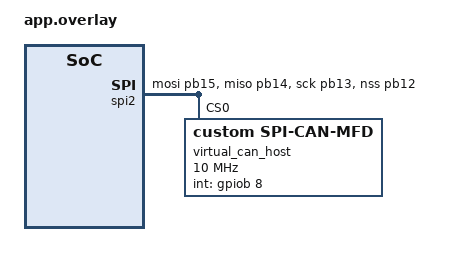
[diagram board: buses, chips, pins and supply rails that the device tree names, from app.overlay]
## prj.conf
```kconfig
CONFIG_GPIO=y
CONFIG_SPI=y
CONFIG_SPI_ASYNC=y
CONFIG_SPI_STM32_INTERRUPT=y
CONFIG_DMA=y
CONFIG_CAN=y
CONFIG_VCAN=y
CONFIG_LOG=y
CONFIG_LOG_MODE_DEFERRED=y
CONFIG_LOG_PROCESS_THREAD=y
CONFIG_LOG_PROCESS_THREAD_SLEEP_MS=50
CONFIG_LOG_BUFFER_SIZE=4096
CONFIG_LOG_RATELIMIT=y
CONFIG_LOG_RATELIMIT_INTERVAL_MS=1000
CONFIG_ASSERT=y
CONFIG_MAIN_STACK_SIZE=4096
CONFIG_SYS_CLOCK_TICKS_PER_SEC=1000
CONFIG_SPI_LOG_LEVEL_WRN=y
CONFIG_CAN_LOG_LEVEL_WRN=y
CONFIG_VCAN_WORKQ_STACK_SIZE=2048
```

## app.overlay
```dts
&spi2 {
	status = "okay";
	dmas = <&dma1 3 0 (STM32_DMA_PERIPH_RX | STM32_DMA_PRIORITY_HIGH) 0>,
	       <&dma1 4 0 (STM32_DMA_PERIPH_TX | STM32_DMA_PRIORITY_HIGH) 0>;
	dma-names = "rx", "tx";
	pinctrl-0 = <&spi2_mosi_pb15
		     &spi2_miso_pb14
		     &spi2_sck_pb13
		     &spi2_nss_pb12>;
	pinctrl-names = "default";

	virtual_can_host: spi_can@0 {
		compatible = "custom,spi-can-mfd";
		reg = <0>;
		spi-max-frequency = <10000000>;
		can-core-clock = <42000000>;
		int-gpios = <&gpiob 8 (GPIO_ACTIVE_HIGH | GPIO_PULL_DOWN)>;
		status = "okay";

		can_v0: can_0 {
			compatible = "custom,spi-can-node";
			status = "okay";
			can-channel = <0>;
			bitrate = <1000000>;
			sample-point = <875>;
		};

		can_v1: can_1 {
			compatible = "custom,spi-can-node";
			status = "okay";
			can-channel = <1>;
			bitrate = <1000000>;
			sample-point = <875>;
		};
	};
};
```

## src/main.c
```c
#include <errno.h>
#include <string.h>

#include <zephyr/device.h>
#include <zephyr/devicetree.h>
#include <zephyr/drivers/can.h>
#include <zephyr/kernel.h>
#include <zephyr/logging/log.h>
#include <zephyr/sys/byteorder.h>
#include <zephyr/sys/util.h>

LOG_MODULE_REGISTER(vcan_host_demo, LOG_LEVEL_INF);

#define HOST_DEMO_LOG_INTERVAL_MS 5000U

#define HOST_CAN0_NODE DT_NODELABEL(can1)
#define HOST_CAN1_NODE DT_NODELABEL(can2)
#define REMOTE_CAN0_NODE DT_NODELABEL(can_v0)
#define REMOTE_CAN1_NODE DT_NODELABEL(can_v1)

#define VCAN_CHANNEL_COUNT 2U
#define TEST_MAGIC 0xA5U
#define CAN_BITRATE_PER_CHANNEL 1000000U
#define CAN_STD_8B_FRAME_BITS 111U
#define CAN_SHARED_DIRECTIONS_PER_CHANNEL 2U
#define SPI_SYNC_MAX_FRAMES_PER_TRANSFER 4U
#define SPI_SYNC_POLL_US 500U
#define TARGET_FPS_OVERRIDE 3000U
#define RAW_TARGET_FPS_PER_DIRECTION                                                        \
	((((CAN_BITRATE_PER_CHANNEL / CAN_STD_8B_FRAME_BITS) /                              \
	   CAN_SHARED_DIRECTIONS_PER_CHANNEL) <                                            \
	  (((1000000U / SPI_SYNC_POLL_US) * SPI_SYNC_MAX_FRAMES_PER_TRANSFER) /            \
	   VCAN_CHANNEL_COUNT)) ?                                                          \
		 ((CAN_BITRATE_PER_CHANNEL / CAN_STD_8B_FRAME_BITS) /                        \
		  CAN_SHARED_DIRECTIONS_PER_CHANNEL) :                                       \
		 (((1000000U / SPI_SYNC_POLL_US) * SPI_SYNC_MAX_FRAMES_PER_TRANSFER) /       \
		  VCAN_CHANNEL_COUNT))
#define TARGET_FPS_PER_DIRECTION TARGET_FPS_OVERRIDE
#define TEST_PERIOD_MS 2U
#define TEST_GAP_MS 1U
#define TEST_TIMEOUT_MS 100U
#define SUMMARY_INTERVAL_MS 5000U
#define STRESS_FRAMES_PER_PERIOD_NUMERATOR (TARGET_FPS_PER_DIRECTION * TEST_PERIOD_MS)
#define STRESS_BATCH_BASE (STRESS_FRAMES_PER_PERIOD_NUMERATOR / 1000U)
#define STRESS_BATCH_PEAK DIV_ROUND_UP(STRESS_FRAMES_PER_PERIOD_NUMERATOR, 1000U)
#define PENDING_DEPTH 512U
#define TIMEOUT_LOG_BURST 8U
#define HOUSEKEEPING_PERIOD_MS 10U
#define WORKER_COUNT (VCAN_CHANNEL_COUNT * 2U)
#define WORKER_STACK_SIZE 1536U
#define WORKER_PRIORITY 4

#define CAN_IDEAL_MAX_FPS_PER_DIRECTION                                                     \
	((CAN_BITRATE_PER_CHANNEL / CAN_STD_8B_FRAME_BITS) /                                \
	 CAN_SHARED_DIRECTIONS_PER_CHANNEL)
#define CODE_MAX_FPS_PER_DIRECTION                                                           \
	(((1000000U / SPI_SYNC_POLL_US) * SPI_SYNC_MAX_FRAMES_PER_TRANSFER) /              \
	 VCAN_CHANNEL_COUNT)

BUILD_ASSERT(TEST_GAP_MS < TEST_PERIOD_MS, "TEST_GAP_MS must be smaller than TEST_PERIOD_MS");
BUILD_ASSERT(TARGET_FPS_PER_DIRECTION > 0U, "target fps must be non-zero");
BUILD_ASSERT(TARGET_FPS_PER_DIRECTION <= RAW_TARGET_FPS_PER_DIRECTION,
	     "target fps exceeds current stress capacity");

struct timeout_report {
	const char *name;
	uint16_t seq[TIMEOUT_LOG_BURST];
	size_t seq_count;
	size_t total_count;
};

struct pending_entry {
	bool active;
	uint16_t seq;
	int64_t sent_at_ms;
};

struct pending_case {
	const char *name;
	struct pending_entry entries[PENDING_DEPTH];
};

struct channel_stats {
	const struct device *host_can;
	const struct device *remote_can;
	const char *name;
	uint32_t host_to_remote_id;
	uint32_t remote_to_host_id;
	uint8_t host_to_remote_tag;
	uint8_t remote_to_host_tag;
	struct pending_case host_to_remote;
	struct pending_case remote_to_host;
	uint32_t host_tx_count;
	uint32_t remote_tx_count;
	uint32_t host_to_remote_pass;
	uint32_t remote_to_host_pass;
	uint32_t host_to_remote_timeout;
	uint32_t remote_to_host_timeout;
	uint32_t host_send_err;
	uint32_t remote_send_err;
	uint32_t host_backpressure;
	uint32_t remote_backpressure;
	uint32_t unexpected_host_rx;
	uint32_t unexpected_remote_rx;
};

struct endpoint_ctx {
	uint8_t channel;
	const char *name;
};

struct sender_worker {
	uint8_t channel;
	bool remote_to_host;
	const char *name;
	uint16_t next_seq;
	int64_t start_delay_ms;
};

struct demo_stats {
	struct k_spinlock lock;
	struct channel_stats channels[VCAN_CHANNEL_COUNT];
};

struct summary_snapshot {
	uint32_t host_tx_count;
	uint32_t remote_tx_count;
	uint32_t host_to_remote_pass;
	uint32_t remote_to_host_pass;
	uint32_t host_to_remote_timeout;
	uint32_t remote_to_host_timeout;
	uint32_t host_send_err;
	uint32_t remote_send_err;
	uint32_t host_backpressure;
	uint32_t remote_backpressure;
	uint32_t unexpected_host_rx;
	uint32_t unexpected_remote_rx;
};

static struct demo_stats stats = {
	.channels =
		{
			[0] =
				{
					.host_can = DEVICE_DT_GET(HOST_CAN0_NODE),
					.remote_can = DEVICE_DT_GET(REMOTE_CAN0_NODE),
					.name = "channel0(can1<->vcan0)",
					.host_to_remote_id = 0x120,
					.remote_to_host_id = 0x220,
					.host_to_remote_tag = 0x10,
					.remote_to_host_tag = 0x20,
					.host_to_remote = { .name = "can1->vcan0" },
					.remote_to_host = { .name = "vcan0->can1" },
				},
			[1] =
				{
					.host_can = DEVICE_DT_GET(HOST_CAN1_NODE),
					.remote_can = DEVICE_DT_GET(REMOTE_CAN1_NODE),
					.name = "channel1(can2<->vcan1)",
					.host_to_remote_id = 0x121,
					.remote_to_host_id = 0x221,
					.host_to_remote_tag = 0x11,
					.remote_to_host_tag = 0x21,
					.host_to_remote = { .name = "can2->vcan1" },
					.remote_to_host = { .name = "vcan1->can2" },
				},
		},
};

static const struct endpoint_ctx host_ctx[VCAN_CHANNEL_COUNT] = {
	[0] = {
		.channel = 0U,
		.name = "host_can1",
	},
	[1] = {
		.channel = 1U,
		.name = "host_can2",
	},
};

static const struct endpoint_ctx remote_ctx[VCAN_CHANNEL_COUNT] = {
	[0] = {
		.channel = 0U,
		.name = "vcan0",
	},
	[1] = {
		.channel = 1U,
		.name = "vcan1",
	},
};

static struct sender_worker workers[WORKER_COUNT] = {
	[0] = {
		.channel = 0U,
		.remote_to_host = false,
		.name = "can1->vcan0",
		.next_seq = 1U,
		.start_delay_ms = 0,
	},
	[1] = {
		.channel = 1U,
		.remote_to_host = false,
		.name = "can2->vcan1",
		.next_seq = 1U,
		.start_delay_ms = 0,
	},
	[2] = {
		.channel = 0U,
		.remote_to_host = true,
		.name = "vcan0->can1",
		.next_seq = 1U,
		.start_delay_ms = TEST_GAP_MS,
	},
	[3] = {
		.channel = 1U,
		.remote_to_host = true,
		.name = "vcan1->can2",
		.next_seq = 1U,
		.start_delay_ms = TEST_GAP_MS,
	},
};

K_THREAD_STACK_ARRAY_DEFINE(worker_stacks, WORKER_COUNT, WORKER_STACK_SIZE);
static struct k_thread worker_threads[WORKER_COUNT];

static void sleep_until_ms(int64_t deadline_ms)
{
	int64_t now = k_uptime_get();

	if (deadline_ms <= now) {
		return;
	}

	k_sleep(K_MSEC((uint32_t)(deadline_ms - now)));
}

static const char *can_state_name(enum can_state state)
{
	switch (state) {
	case CAN_STATE_ERROR_ACTIVE:
		return "error-active";
	case CAN_STATE_ERROR_WARNING:
		return "error-warning";
	case CAN_STATE_ERROR_PASSIVE:
		return "error-passive";
	case CAN_STATE_BUS_OFF:
		return "bus-off";
	case CAN_STATE_STOPPED:
		return "stopped";
	default:
		return "unknown";
	}
}

static uint16_t frame_seq_get(const struct can_frame *frame)
{
	if (frame->dlc < 4U) {
		return 0U;
	}

	return sys_get_le16(&frame->data[2]);
}

static void frame_fill(struct can_frame *frame, uint32_t id, uint8_t tag, uint8_t channel,
		       uint16_t seq)
{
	memset(frame, 0, sizeof(*frame));
	frame->id = id;
	frame->dlc = 8U;
	frame->data[0] = TEST_MAGIC;
	frame->data[1] = tag;
	sys_put_le16(seq, &frame->data[2]);
	frame->data[4] = channel;
	frame->data[5] = 0x11U + channel;
	frame->data[6] = 0x22U + channel;
	frame->data[7] = 0x33U + channel;
}

static bool frame_has_signature(const struct can_frame *frame, uint32_t id, uint8_t tag,
				uint8_t channel)
{
	return frame->id == id && frame->dlc == 8U && frame->data[0] == TEST_MAGIC &&
	       frame->data[1] == tag && frame->data[4] == channel;
}

static const char *can_err_name(int err)
{
	switch (err) {
	case 0:
		return "OK";
	case -EAGAIN:
		return "EAGAIN";
	case -EIO:
		return "EIO";
	case -ENETDOWN:
		return "ENETDOWN";
	case -ENODEV:
		return "ENODEV";
	case -ENOSPC:
		return "ENOSPC";
	case -EINVAL:
		return "EINVAL";
	case -EBUSY:
		return "EBUSY";
	default:
		return "UNKNOWN";
	}
}

static int pending_add(struct pending_case *pending, uint16_t seq, int64_t sent_at_ms)
{
	for (size_t i = 0U; i < ARRAY_SIZE(pending->entries); i++) {
		if (pending->entries[i].active) {
			continue;
		}

		pending->entries[i].active = true;
		pending->entries[i].seq = seq;
		pending->entries[i].sent_at_ms = sent_at_ms;
		return 0;
	}

	return -ENOSPC;
}

static bool pending_complete(struct pending_case *pending, uint16_t seq)
{
	for (size_t i = 0U; i < ARRAY_SIZE(pending->entries); i++) {
		if (!pending->entries[i].active || pending->entries[i].seq != seq) {
			continue;
		}

		pending->entries[i].active = false;
		return true;
	}

	return false;
}

static bool pending_remove(struct pending_case *pending, uint16_t seq)
{
	for (size_t i = 0U; i < ARRAY_SIZE(pending->entries); i++) {
		if (!pending->entries[i].active || pending->entries[i].seq != seq) {
			continue;
		}

		pending->entries[i].active = false;
		return true;
	}

	return false;
}

static uint8_t pending_count(const struct pending_case *pending)
{
	uint8_t used = 0U;

	for (size_t i = 0U; i < ARRAY_SIZE(pending->entries); i++) {
		if (pending->entries[i].active) {
			used++;
		}
	}

	return used;
}

static size_t pending_collect_timeouts(struct pending_case *pending, int64_t now_ms,
				       uint16_t *expired_seq, size_t expired_seq_len)
{
	size_t expired = 0U;

	for (size_t i = 0U; i < ARRAY_SIZE(pending->entries); i++) {
		if (!pending->entries[i].active) {
			continue;
		}

		if ((now_ms - pending->entries[i].sent_at_ms) < TEST_TIMEOUT_MS) {
			continue;
		}

		if (expired < expired_seq_len) {
			expired_seq[expired] = pending->entries[i].seq;
		}

		pending->entries[i].active = false;
		expired++;
	}

	return expired;
}

static void tx_callback(const struct device *dev, int error, void *user_data)
{
	const char *name = user_data;

	if (error < 0) {
		LOG_WRN_RATELIMIT_RATE(HOST_DEMO_LOG_INTERVAL_MS,
				       "%s TX callback dev=%s err=%d(%s)", name, dev->name,
				       error, can_err_name(error));
	}
}

static void state_callback(const struct device *dev, enum can_state state,
			   struct can_bus_err_cnt err_cnt, void *user_data)
{
	const struct endpoint_ctx *ctx = user_data;

	if (state == CAN_STATE_ERROR_ACTIVE && err_cnt.tx_err_cnt == 0U && err_cnt.rx_err_cnt == 0U) {
		return;
	}

	LOG_WRN_RATELIMIT_RATE(HOST_DEMO_LOG_INTERVAL_MS,
			       "%s state dev=%s state=%s(%d) tx_err=%u rx_err=%u", ctx->name,
			       dev->name, can_state_name(state), state, err_cnt.tx_err_cnt,
			       err_cnt.rx_err_cnt);
}

static void check_timeout_case_locked(struct pending_case *pending, uint32_t *timeout_counter,
				      struct timeout_report *report)
{
	int64_t now = k_uptime_get();
	size_t expired_count;

	report->name = pending->name;
	report->seq_count = 0U;
	report->total_count = 0U;

	expired_count = pending_collect_timeouts(pending, now, report->seq, ARRAY_SIZE(report->seq));
	if (expired_count == 0U) {
		return;
	}

	*timeout_counter += expired_count;
	report->total_count = expired_count;
	report->seq_count = MIN(expired_count, ARRAY_SIZE(report->seq));
}

static void check_timeouts(void)
{
	struct timeout_report reports[VCAN_CHANNEL_COUNT * 2U];
	size_t report_count = 0U;
	k_spinlock_key_t key = k_spin_lock(&stats.lock);

	for (uint8_t channel = 0U; channel < VCAN_CHANNEL_COUNT; channel++) {
		struct channel_stats *channel_stats = &stats.channels[channel];

		check_timeout_case_locked(&channel_stats->host_to_remote,
					  &channel_stats->host_to_remote_timeout,
					  &reports[report_count++]);
		check_timeout_case_locked(&channel_stats->remote_to_host,
					  &channel_stats->remote_to_host_timeout,
					  &reports[report_count++]);
	}

	k_spin_unlock(&stats.lock, key);

	for (size_t i = 0U; i < report_count; i++) {
		if (reports[i].total_count == 0U) {
			continue;
		}

		LOG_ERR_RATELIMIT_RATE(HOST_DEMO_LOG_INTERVAL_MS,
				       "%s timeout count=%u first_seq=%u sample_count=%u timeout=%u ms",
				       reports[i].name, (unsigned int)reports[i].total_count,
				       reports[i].seq_count > 0U ? reports[i].seq[0] : 0U,
				       (unsigned int)reports[i].seq_count, TEST_TIMEOUT_MS);
	}
}

static void summary_log(void)
{
	static struct summary_snapshot previous[VCAN_CHANNEL_COUNT];

	for (uint8_t channel = 0U; channel < VCAN_CHANNEL_COUNT; channel++) {
		const char *name;
		struct summary_snapshot current;
		struct summary_snapshot delta;
		uint8_t pending_h2r;
		uint8_t pending_r2h;
		k_spinlock_key_t key = k_spin_lock(&stats.lock);
		struct channel_stats *channel_stats = &stats.channels[channel];

		name = channel_stats->name;
		current.host_tx_count = channel_stats->host_tx_count;
		current.remote_tx_count = channel_stats->remote_tx_count;
		current.host_to_remote_pass = channel_stats->host_to_remote_pass;
		current.remote_to_host_pass = channel_stats->remote_to_host_pass;
		current.host_to_remote_timeout = channel_stats->host_to_remote_timeout;
		current.remote_to_host_timeout = channel_stats->remote_to_host_timeout;
		current.host_send_err = channel_stats->host_send_err;
		current.remote_send_err = channel_stats->remote_send_err;
		current.host_backpressure = channel_stats->host_backpressure;
		current.remote_backpressure = channel_stats->remote_backpressure;
		current.unexpected_host_rx = channel_stats->unexpected_host_rx;
		current.unexpected_remote_rx = channel_stats->unexpected_remote_rx;
		pending_h2r = pending_count(&channel_stats->host_to_remote);
		pending_r2h = pending_count(&channel_stats->remote_to_host);
		k_spin_unlock(&stats.lock, key);

		delta.host_tx_count = current.host_tx_count - previous[channel].host_tx_count;
		delta.remote_tx_count = current.remote_tx_count - previous[channel].remote_tx_count;
		delta.host_to_remote_pass =
			current.host_to_remote_pass - previous[channel].host_to_remote_pass;
		delta.remote_to_host_pass =
			current.remote_to_host_pass - previous[channel].remote_to_host_pass;
		delta.host_to_remote_timeout =
			current.host_to_remote_timeout - previous[channel].host_to_remote_timeout;
		delta.remote_to_host_timeout =
			current.remote_to_host_timeout - previous[channel].remote_to_host_timeout;
		delta.host_send_err = current.host_send_err - previous[channel].host_send_err;
		delta.remote_send_err = current.remote_send_err - previous[channel].remote_send_err;
		delta.host_backpressure =
			current.host_backpressure - previous[channel].host_backpressure;
		delta.remote_backpressure =
			current.remote_backpressure - previous[channel].remote_backpressure;
		delta.unexpected_host_rx =
			current.unexpected_host_rx - previous[channel].unexpected_host_rx;
		delta.unexpected_remote_rx =
			current.unexpected_remote_rx - previous[channel].unexpected_remote_rx;
		previous[channel] = current;

		LOG_INF("%s %us tx[h2r=%u r2h=%u] ok[h2r=%u r2h=%u] err[send=%u timeout=%u unexpected=%u bp=%u] pending[h2r=%u r2h=%u] total_ok[h2r=%u r2h=%u]",
			name, SUMMARY_INTERVAL_MS / 1000U, delta.host_tx_count,
			delta.remote_tx_count, delta.host_to_remote_pass,
			delta.remote_to_host_pass, delta.host_send_err + delta.remote_send_err,
			delta.host_to_remote_timeout + delta.remote_to_host_timeout,
			delta.unexpected_host_rx + delta.unexpected_remote_rx,
			delta.host_backpressure + delta.remote_backpressure, pending_h2r, pending_r2h,
			current.host_to_remote_pass, current.remote_to_host_pass);
	}
}

static void remote_rx_callback(const struct device *dev, struct can_frame *frame, void *user_data)
{
	const struct endpoint_ctx *ctx = user_data;
	struct channel_stats *channel_stats = &stats.channels[ctx->channel];
	uint16_t seq = frame_seq_get(frame);
	const char *channel_name;
	bool matched = false;

	k_spinlock_key_t key = k_spin_lock(&stats.lock);
	channel_name = channel_stats->name;

	if (frame_has_signature(frame, channel_stats->host_to_remote_id,
				channel_stats->host_to_remote_tag, ctx->channel)) {
		matched = pending_complete(&channel_stats->host_to_remote, seq);
	}

	if (matched) {
		channel_stats->host_to_remote_pass++;
	} else {
		channel_stats->unexpected_remote_rx++;
	}

	k_spin_unlock(&stats.lock, key);

	if (!matched) {
		LOG_WRN_RATELIMIT_RATE(HOST_DEMO_LOG_INTERVAL_MS,
				       "%s unexpected remote RX dev=%s id=0x%03x seq=%u",
				       channel_name, dev->name, frame->id, seq);
	}
}

static void host_rx_callback(const struct device *dev, struct can_frame *frame, void *user_data)
{
	const struct endpoint_ctx *ctx = user_data;
	struct channel_stats *channel_stats = &stats.channels[ctx->channel];
	uint16_t seq = frame_seq_get(frame);
	const char *channel_name;
	bool matched = false;

	k_spinlock_key_t key = k_spin_lock(&stats.lock);
	channel_name = channel_stats->name;

	if (frame_has_signature(frame, channel_stats->remote_to_host_id,
				channel_stats->remote_to_host_tag, ctx->channel)) {
		matched = pending_complete(&channel_stats->remote_to_host, seq);
	}

	if (matched) {
		channel_stats->remote_to_host_pass++;
	} else {
		channel_stats->unexpected_host_rx++;
	}

	k_spin_unlock(&stats.lock, key);

	if (!matched) {
		LOG_WRN_RATELIMIT_RATE(HOST_DEMO_LOG_INTERVAL_MS,
				       "%s unexpected host RX dev=%s id=0x%03x seq=%u",
				       channel_name, dev->name, frame->id, seq);
	}
}

static int can_prepare(const struct device *dev, can_rx_callback_t callback, void *cb_user_data,
		       can_state_change_callback_t state_cb, void *state_user_data)
{
	struct can_filter filter = {
		.id = 0U,
		.mask = 0U,
	};
	int filter_id;
	int ret;

	if (!device_is_ready(dev)) {
		LOG_ERR("device %s not ready", dev->name);
		return -ENODEV;
	}

	filter_id = can_add_rx_filter(dev, callback, cb_user_data, &filter);
	if (filter_id < 0) {
		LOG_ERR("failed to add RX filter on %s (%d)", dev->name, filter_id);
		return filter_id;
	}

	can_set_state_change_callback(dev, state_cb, state_user_data);

	ret = can_start(dev);
	if (ret < 0 && ret != -EALREADY) {
		LOG_ERR("failed to start %s (%d)", dev->name, ret);
		return ret;
	}

	return 0;
}

static int send_host_can(uint8_t channel, uint16_t seq)
{
	struct channel_stats *channel_stats = &stats.channels[channel];
	struct can_frame frame;
	int64_t now = k_uptime_get();
	int ret;

	k_spinlock_key_t key = k_spin_lock(&stats.lock);

	ret = pending_add(&channel_stats->host_to_remote, seq, now);
	if (ret < 0) {
		channel_stats->host_backpressure++;
		k_spin_unlock(&stats.lock, key);
		return -EAGAIN;
	}
	k_spin_unlock(&stats.lock, key);

	frame_fill(&frame, channel_stats->host_to_remote_id, channel_stats->host_to_remote_tag,
		   channel, seq);

	ret = can_send(channel_stats->host_can, &frame, K_MSEC(100), tx_callback,
		       (void *)host_ctx[channel].name);
	if (ret < 0) {
		key = k_spin_lock(&stats.lock);

		(void)pending_remove(&channel_stats->host_to_remote, seq);
		channel_stats->host_send_err++;
		k_spin_unlock(&stats.lock, key);
		LOG_ERR_RATELIMIT_RATE(HOST_DEMO_LOG_INTERVAL_MS,
				       "%s host send failed seq=%u ret=%d(%s)",
				       channel_stats->name, seq, ret, can_err_name(ret));
		return ret;
	}

	key = k_spin_lock(&stats.lock);

	channel_stats->host_tx_count++;
	k_spin_unlock(&stats.lock, key);

	return 0;
}

static int send_remote_can(uint8_t channel, uint16_t seq)
{
	struct channel_stats *channel_stats = &stats.channels[channel];
	struct can_frame frame;
	int64_t now = k_uptime_get();
	int ret;

	k_spinlock_key_t key = k_spin_lock(&stats.lock);

	ret = pending_add(&channel_stats->remote_to_host, seq, now);
	if (ret < 0) {
		channel_stats->remote_backpressure++;
		k_spin_unlock(&stats.lock, key);
		return -EAGAIN;
	}
	k_spin_unlock(&stats.lock, key);

	frame_fill(&frame, channel_stats->remote_to_host_id, channel_stats->remote_to_host_tag,
		   channel, seq);

	ret = can_send(channel_stats->remote_can, &frame, K_MSEC(100), tx_callback,
		       (void *)remote_ctx[channel].name);
	if (ret < 0) {
		key = k_spin_lock(&stats.lock);

		(void)pending_remove(&channel_stats->remote_to_host, seq);
		channel_stats->remote_send_err++;
		k_spin_unlock(&stats.lock, key);
		LOG_ERR_RATELIMIT_RATE(HOST_DEMO_LOG_INTERVAL_MS,
				       "%s remote send failed seq=%u ret=%d(%s)",
				       channel_stats->name, seq, ret, can_err_name(ret));
		return ret;
	}

	key = k_spin_lock(&stats.lock);

	channel_stats->remote_tx_count++;
	k_spin_unlock(&stats.lock, key);

	return 0;
}

static void sender_worker_thread(void *p1, void *p2, void *p3)
{
	struct sender_worker *worker = p1;
	int64_t cycle_start_ms = k_uptime_get() + worker->start_delay_ms;
	uint32_t frame_credit = 0U;

	ARG_UNUSED(p2);
	ARG_UNUSED(p3);

	sleep_until_ms(cycle_start_ms);

	while (1) {
		uint32_t burst_count;

		frame_credit += STRESS_FRAMES_PER_PERIOD_NUMERATOR;
		burst_count = frame_credit / 1000U;
		frame_credit %= 1000U;

		for (uint32_t burst = 0U; burst < burst_count; burst++) {
			if (worker->remote_to_host) {
				(void)send_remote_can(worker->channel, worker->next_seq++);
			} else {
				(void)send_host_can(worker->channel, worker->next_seq++);
			}
		}

		cycle_start_ms += TEST_PERIOD_MS;
		if (cycle_start_ms < k_uptime_get()) {
			cycle_start_ms = k_uptime_get();
		}

		sleep_until_ms(cycle_start_ms);
	}
}

int main(void)
{
	int64_t last_summary_ms;
	int ret;

	LOG_INF("host stress cap can_ideal=%ufps/dir/ch code=%ufps/dir/ch applied=%ufps/dir/ch",
		CAN_IDEAL_MAX_FPS_PER_DIRECTION, CODE_MAX_FPS_PER_DIRECTION,
		TARGET_FPS_PER_DIRECTION);
	if (STRESS_BATCH_BASE == STRESS_BATCH_PEAK) {
		LOG_INF("host stress start mode=4workers target=%ufps/dir/ch period=%ums gap=%ums batch=%u timeout=%ums pending=%u",
			TARGET_FPS_PER_DIRECTION, TEST_PERIOD_MS, TEST_GAP_MS,
			STRESS_BATCH_BASE, TEST_TIMEOUT_MS, PENDING_DEPTH);
	} else {
		LOG_INF("host stress start mode=4workers target=%ufps/dir/ch period=%ums gap=%ums batch=%u..%u timeout=%ums pending=%u",
			TARGET_FPS_PER_DIRECTION, TEST_PERIOD_MS, TEST_GAP_MS,
			STRESS_BATCH_BASE, STRESS_BATCH_PEAK, TEST_TIMEOUT_MS,
			PENDING_DEPTH);
	}
	LOG_INF("host paths h2r:[can1->vcan0 can2->vcan1] r2h:[vcan0->can1 vcan1->can2]");

	for (uint8_t channel = 0U; channel < VCAN_CHANNEL_COUNT; channel++) {
		ret = can_prepare(stats.channels[channel].remote_can, remote_rx_callback,
				  (void *)&remote_ctx[channel], state_callback,
				  (void *)&remote_ctx[channel]);
		if (ret < 0) {
			return ret;
		}

		ret = can_prepare(stats.channels[channel].host_can, host_rx_callback,
				  (void *)&host_ctx[channel], state_callback,
				  (void *)&host_ctx[channel]);
		if (ret < 0) {
			return ret;
		}
	}

	for (uint8_t i = 0U; i < ARRAY_SIZE(workers); i++) {
		k_thread_create(&worker_threads[i], worker_stacks[i], WORKER_STACK_SIZE,
				sender_worker_thread, &workers[i], NULL, NULL,
				WORKER_PRIORITY, 0, K_NO_WAIT);
		k_thread_name_set(&worker_threads[i], workers[i].name);
	}

	last_summary_ms = k_uptime_get();

	while (1) {
		check_timeouts();
		if ((k_uptime_get() - last_summary_ms) >= SUMMARY_INTERVAL_MS) {
			check_timeouts();
			summary_log();
			last_summary_ms = k_uptime_get();
		}

		k_sleep(K_MSEC(HOUSEKEEPING_PERIOD_MS));
	}
}
```
